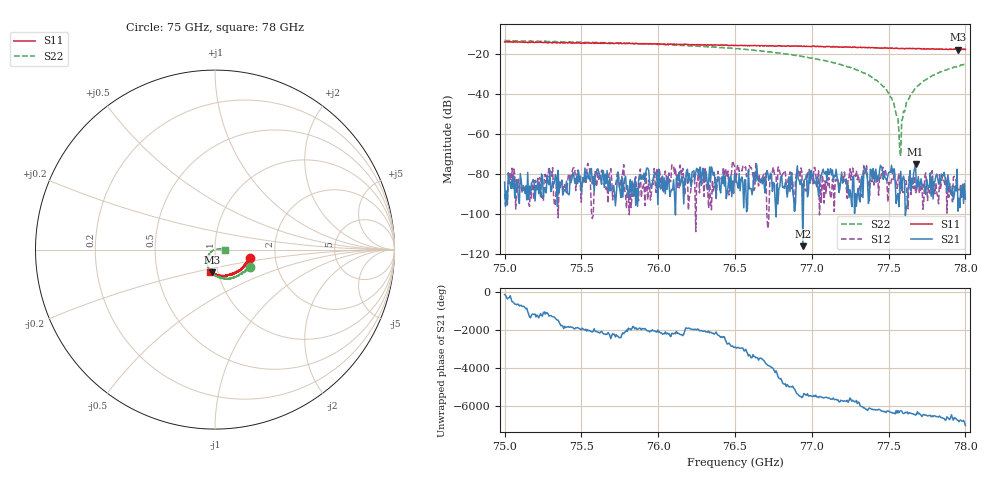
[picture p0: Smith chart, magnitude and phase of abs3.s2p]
# Hz S MA R 50
! CMT, C4420, 21421029, 25.1.2/3
! Date: 8/7/2025 12:43:21 PM
! Data: Format (Calibration Info)
! Freq	S33:Mag/Ang(F2)	S43:Mag/Ang(F2)	S34:Mag/Ang(F2)	S44:Mag/Ang(F2)
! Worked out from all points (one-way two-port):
!   500 points, 75 GHz to 78 GHz, reference 50 ohm
!   highest |S21| = -75.33 dB at 77.675 GHz (marker M1); lowest = -116.2 dB at 76.942 GHz (marker M2)
!   lowest |S11| = -17.9 dB at 77.952 GHz (marker M3), VSWR 1.29, Z = 46.8 - j12 ohm
!   |S11| at or under -10 dB: start of sweep to end of sweep
!   |S22| runs from -71.1 to -13.3 dB; largest |S21 - S12| = 0.00021
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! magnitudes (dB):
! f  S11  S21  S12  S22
! 75 GHz  -14.0  -84.2  -90.1  -13.3
! 75.505 GHz  -14.6  -85.4  -85.2  -14.1
! 75.541 GHz  -14.5  -79.3  -74.8  -14.2
! 75.571 GHz  -14.5  -85.2  -102.4  -14.2
! 76.004 GHz  -15.1  -77.7  -77.6  -15.2
! 76.07 GHz  -15.3  -84.1  -79.6  -15.5
! 76.1 GHz  -15.2  -83.1  -76.2  -15.7
! 76.118 GHz  -15.2  -82.1  -81.7  -15.6
! 76.407 GHz  -15.5  -89.6  -81.9  -16.9
! 76.503 GHz  -15.8  -81.4  -84.2  -17.4
! 76.942 GHz  -16.3  -116.2  -103.9  -21.4
! 77.002 GHz  -16.2  -81.3  -82.5  -22.1
! 77.333 GHz  -16.8  -92.0  -80.3  -29.4
! 77.501 GHz  -17.3  -79.3  -84.2  -39.6
! 77.543 GHz  -17.2  -84.5  -82.7  -48.2
! 77.567 GHz  -17.3  -96.4  -79.8  -59.0
! 77.579 GHz  -17.3  -78.8  -83.6  -71.1
! 77.597 GHz  -17.4  -81.2  -89.4  -48.7
! 77.609 GHz  -17.3  -100.9  -83.4  -47.3
! 77.675 GHz  -17.4  -75.3  -89.9  -37.3
! 77.952 GHz  -17.9  -98.7  -87.6  -26.1
! 78 GHz  -17.8  -92.7  -83.4  -25.2
